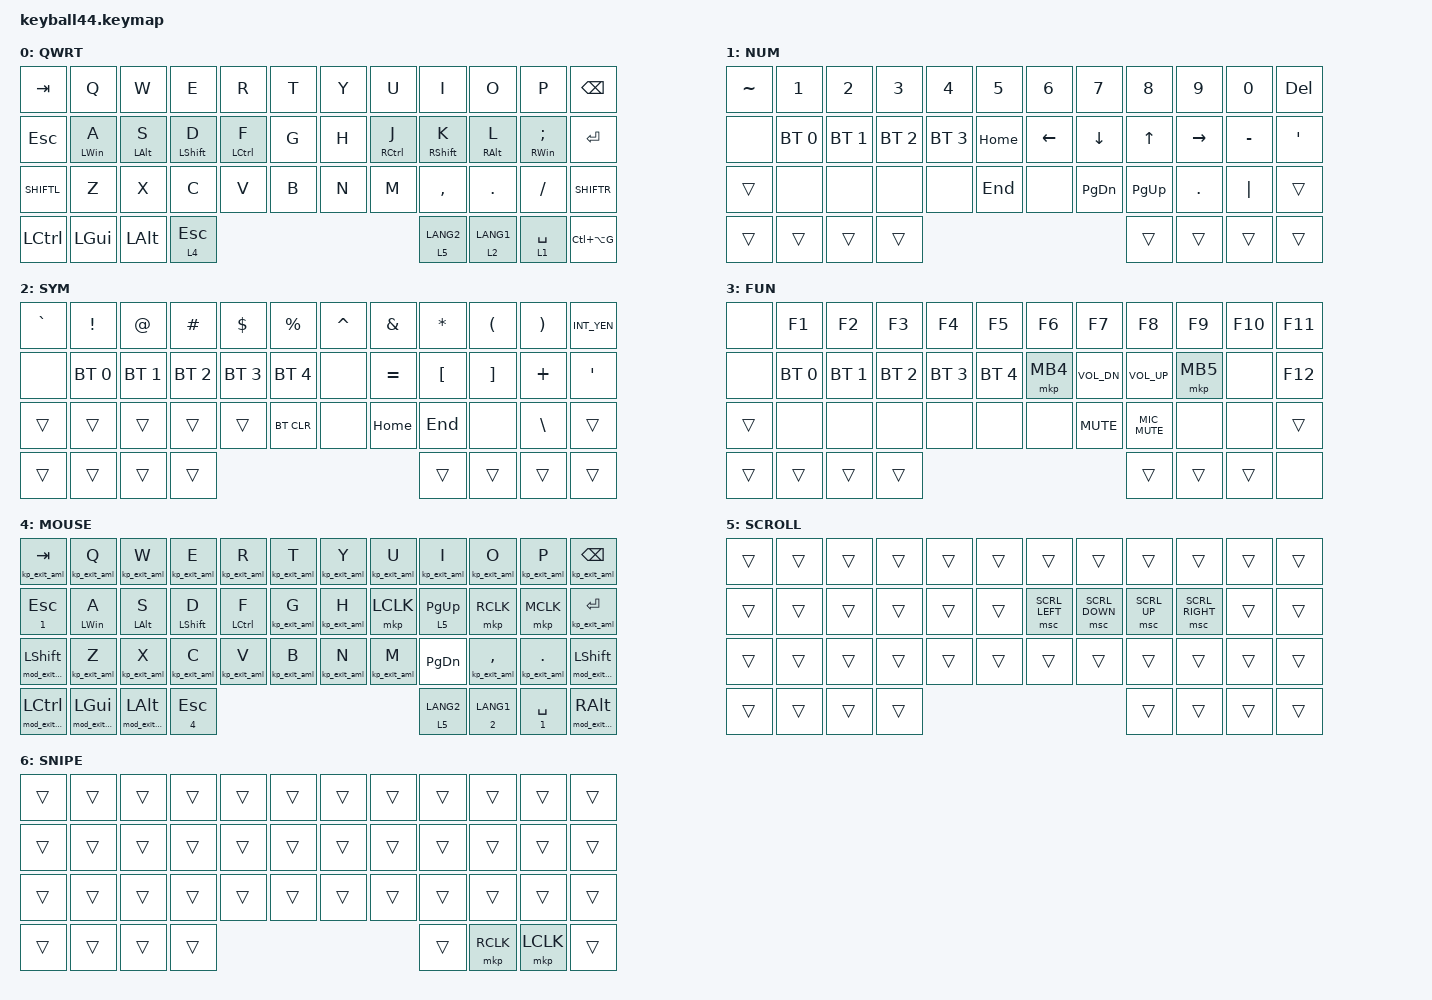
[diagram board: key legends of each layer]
#define DEFAULT 0
#define NUM     1
#define SYM     2
#define FUN     3
#define MOUSE   4
#define SCROLL  5
#define SNIPE   6
#define C_MIC_MUTE (ZMK_HID_USAGE(HID_USAGE_CONSUMER, HID_USAGE_CONSUMER_START_OR_STOP_MICROPHONE_CAPTURE))

#include <behaviors/mouse_keys.dtsi>
#include <dt-bindings/zmk/mouse.h>
#include <behaviors.dtsi>
#include <dt-bindings/zmk/bt.h>
#include <dt-bindings/zmk/keys.h>

&lt {
    tapping-term-ms = <240>;
    flavor = "balanced";
    quick-tap-ms = <200>;
};

&mt {
    tapping-term-ms = <240>;
    flavor = "tap-preferred";
    quick-tap-ms = <200>;
};

&caps_word { continue-list = <UNDERSCORE MINUS>; };

/ {
    // custom shift using mod-morph 

    behaviors {
        cmqus: COMMA_QUESTION {
            compatible = "zmk,behavior-mod-morph";
            #binding-cells = <0>;
            bindings = <&kp COMMA>, <&kp QUESTION>;

            mods = <(MOD_LSFT|MOD_RSFT)>;
        };

        dtsmi: DOT_SEMI {
            compatible = "zmk,behavior-mod-morph";
            #binding-cells = <0>;
            bindings = <&kp DOT>, <&kp SEMI>;

            mods = <(MOD_LSFT|MOD_RSFT)>;
        };

        SHIFTL: SHIFTL {
            compatible = "zmk,behavior-tap-dance";
            #binding-cells = <0>;
            bindings = <&kp LEFT_SHIFT>, <&caps_word>;
        };

        td_lay34: tap_dance_layer_3_4 {
            compatible = "zmk,behavior-tap-dance";
            #binding-cells = <0>;
            tapping-term-ms = <500>;
            bindings = <&to 4>, <&to 3>;
        };

        exit_aml: EXIT_AML {
            compatible = "zmk,behavior-macro";
            wait-ms = <0>;
            tap-ms = <0>;
            #binding-cells = <0>;
            bindings = <&to DEFAULT>;
        };

        kp_exit_aml: KP_EXIT_AML {
            compatible = "zmk,behavior-macro-one-param";
            wait-ms = <0>;
            tap-ms = <0>;
            #binding-cells = <1>;
            bindings = <&macro_param_1to1 &kp MACRO_PLACEHOLDER &exit_aml>;
        };

        mod_exit_aml: MOD_EXIT_AML {
            compatible = "zmk,behavior-macro-one-param";
            wait-ms = <0>;
            tap-ms = <0>;
            #binding-cells = <1>;
            bindings =
                <&macro_param_1to1>,
                <&macro_press>,
                <&kp MACRO_PLACEHOLDER>,
                <&macro_tap>,
                <&exit_aml>,
                <&macro_pause_for_release>,
                <&macro_param_1to1>,
                <&macro_release>,
                <&kp MACRO_PLACEHOLDER>;
        };

        mo_exit_aml: MO_EXIT_AML {
            compatible = "zmk,behavior-macro-one-param";
            wait-ms = <0>;
            tap-ms = <0>;
            #binding-cells = <1>;
            bindings =
                <&macro_tap>,
                <&exit_aml>,
                <&macro_param_1to1>,
                <&macro_press>,
                <&mo MACRO_PLACEHOLDER>,
                <&macro_pause_for_release>,
                <&macro_param_1to1>,
                <&macro_release>,
                <&mo MACRO_PLACEHOLDER>;
        };

        lt_exit_aml: LT_EXIT_AML {
            compatible = "zmk,behavior-hold-tap";
            bindings = <&mo_exit_aml>, <&kp_exit_aml>;

            #binding-cells = <2>;
            tapping-term-ms = <200>;
            quick-tap-ms = <200>;
            flavor = "balanced";
        };

        mt_exit_aml: MT_EXIT_AML {
            compatible = "zmk,behavior-hold-tap";
            bindings = <&mod_exit_aml>, <&kp_exit_aml>;

            #binding-cells = <2>;
            tapping-term-ms = <200>;
            quick-tap-ms = <200>;
            flavor = "balanced";
        };

        SHIFTR: SHIFTR {
            compatible = "zmk,behavior-tap-dance";
            #binding-cells = <0>;
            bindings = <&kp RIGHT_SHIFT>, <&caps_word>;
        };
    };

    combos {
        compatible = "zmk,combos";

        default_bootloader_r {
            bindings = <&bootloader>;
            key-positions = <10 11 9>;
        };

        studio_unlock_r {
            bindings = <&studio_unlock>;
            key-positions = <21 22 23>;
        };

        default_bootloader_l {
            bindings = <&bootloader>;
            key-positions = <0 1 2>;
        };

        mic_mute {
            bindings = <&kp LA(LG(K))>;
            key-positions = <35 23>;
        };
    };

    macros {
    };

    keymap {
        compatible = "zmk,keymap";

        default_layer {
            display-name = "QWRT";
            bindings = <
&kp TAB    &kp Q         &kp W         &kp E         &kp R        &kp T                   &kp Y        &kp U        &kp I         &kp O       &kp P          &kp BACKSPACE
&kp ESC    &mt LWIN A    &mt LALT S    &mt LSHFT D   &mt LCTRL F  &kp G                   &kp H        &mt RCTRL J  &mt RSHIFT K  &mt RALT L  &mt RWIN SEMI  &kp ENTER
&SHIFTL    &kp Z         &kp X         &kp C         &kp V        &kp B                   &kp N        &kp M        &kp COMMA     &kp DOT     &kp SLASH      &SHIFTR
&kp LCTRL  &kp LEFT_GUI  &kp LEFT_ALT  &lt 4 ESCAPE  &lt 5 LANG2             &lt 2 LANG1  &lt 1 SPACE                                                        &kp LC(LA(G))
            >;
        };

        number_layer {
            display-name = "NUM";
            bindings = <
&kp TILDE  &kp NUMBER_1  &kp NUMBER_2  &kp NUMBER_3  &kp NUMBER_4  &kp NUMBER_5              &kp NUMBER_6  &kp NUMBER_7  &kp NUMBER_8  &kp NUMBER_9  &kp NUMBER_0  &kp DELETE
&none      &bt BT_SEL 0  &bt BT_SEL 1  &bt BT_SEL 2  &bt BT_SEL 3  &kp HOME                  &kp LEFT      &kp DOWN      &kp UP        &kp RIGHT     &kp MINUS     &kp APOS
&trans     &none         &none         &none         &none         &kp END                   &none         &kp PG_DN     &kp PG_UP     &kp PERIOD    &kp PIPE      &trans
&trans     &trans        &trans        &trans        &trans                          &trans  &trans                                                                &trans
            >;
        };

        symbol_layer {
            display-name = "SYM";
            bindings = <
&kp GRAVE  &kp EXCLAMATION  &kp AT_SIGN   &kp HASH      &kp DOLLAR    &kp PERCENT               &kp CARET  &kp AMPERSAND  &kp ASTERISK      &kp LEFT_PARENTHESIS  &kp RIGHT_PARENTHESIS  &kp INT_YEN
&none      &bt BT_SEL 0     &bt BT_SEL 1  &bt BT_SEL 2  &bt BT_SEL 3  &bt BT_SEL 4              &none      &kp EQUAL      &kp LEFT_BRACKET  &kp RIGHT_BRACKET     &kp PLUS               &kp SINGLE_QUOTE
&trans     &trans           &trans        &trans        &trans        &bt BT_CLR                &none      &kp HOME       &kp END           &none                 &kp BACKSLASH          &trans
&trans     &trans           &trans        &trans        &trans                          &trans  &trans                                                                                   &trans
            >;
        };

        function_layer {
            display-name = "FUN";
            bindings = <
&none   &kp F1        &kp F2        &kp F3        &kp F4        &kp F5                    &kp F6    &kp F7        &kp F8          &kp F9    &kp F10  &kp F11
&none   &bt BT_SEL 0  &bt BT_SEL 1  &bt BT_SEL 2  &bt BT_SEL 3  &bt BT_SEL 4              &mkp MB4  &kp C_VOL_DN  &kp C_VOL_UP    &mkp MB5  &none    &kp F12
&trans  &none         &none         &none         &none         &none                     &none     &kp C_MUTE    &kp C_MIC_MUTE  &none     &none    &trans
&trans  &trans        &trans        &trans        &trans                          &trans  &trans                                                     &none
            >;
        };

        mouse_layer {
            display-name = "MOUSE";
            bindings = <
&kp_exit_aml TAB          &kp_exit_aml Q          &kp_exit_aml W          &kp_exit_aml E         &kp_exit_aml R        &kp_exit_aml T                            &kp_exit_aml Y        &kp_exit_aml U  &kp_exit_aml I  &kp_exit_aml O      &kp_exit_aml P    &kp_exit_aml BACKSPACE
&lt_exit_aml 1 ESCAPE     &mt_exit_aml LWIN A     &mt_exit_aml LALT S     &mt_exit_aml LSHFT D   &mt_exit_aml LCTRL F  &kp_exit_aml G                            &kp_exit_aml H        &mkp LCLK       &lt 5 PG_UP     &mkp RCLK           &mkp MCLK         &kp_exit_aml ENTER
&mod_exit_aml LEFT_SHIFT  &kp_exit_aml Z          &kp_exit_aml X          &kp_exit_aml C         &kp_exit_aml V        &kp_exit_aml B                            &kp_exit_aml N        &kp_exit_aml M  &kp PG_DN       &kp_exit_aml COMMA  &kp_exit_aml DOT  &mod_exit_aml LEFT_SHIFT
&mod_exit_aml LCTRL       &mod_exit_aml LEFT_GUI  &mod_exit_aml LEFT_ALT  &lt_exit_aml 4 ESCAPE  &lt 5 LANG2                               &lt_exit_aml 2 LANG1  &lt_exit_aml 1 SPACE                                                                        &mod_exit_aml RIGHT_ALT
            >;
        };

        scroll_layer {
            display-name = "SCROLL";
            bindings = <
&trans  &trans  &trans  &trans  &trans  &trans              &trans          &trans          &trans        &trans           &trans  &trans
&trans  &trans  &trans  &trans  &trans  &trans              &msc SCRL_LEFT  &msc SCRL_DOWN  &msc SCRL_UP  &msc SCRL_RIGHT  &trans  &trans
&trans  &trans  &trans  &trans  &trans  &trans              &trans          &trans          &trans        &trans           &trans  &trans
&trans  &trans  &trans  &trans  &trans              &trans  &trans                                                                 &trans
            >;
        };

        snipe_layer {
            display-name = "SNIPE";
            bindings = <
&trans  &trans  &trans  &trans  &trans  &trans                 &trans     &trans  &trans  &trans  &trans  &trans
&trans  &trans  &trans  &trans  &trans  &trans                 &trans     &trans  &trans  &trans  &trans  &trans
&trans  &trans  &trans  &trans  &trans  &trans                 &trans     &trans  &trans  &trans  &trans  &trans
&trans  &trans  &trans  &trans  &trans              &mkp RCLK  &mkp LCLK                                  &trans
            >;
        };
    };

    conditional_layers {
        compatible = "zmk,conditional-layers";

        func {
            if-layers = <1 2>;
            then-layer = <3>;
        };

        snipe {
            if-layers = <4 5>;
            then-layer = <6>;
        };
    };
};
